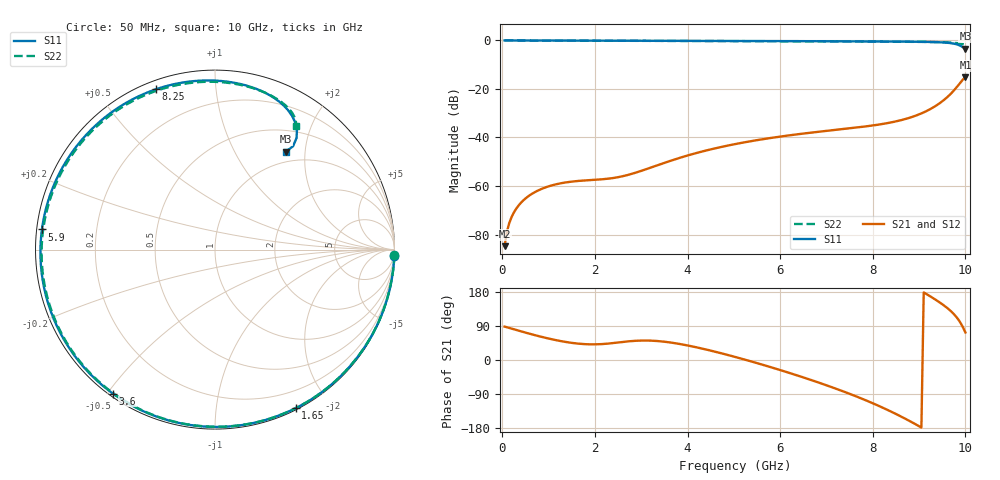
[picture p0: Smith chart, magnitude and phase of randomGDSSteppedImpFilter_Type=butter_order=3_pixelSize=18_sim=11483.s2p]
! freq	dB(S11)	phase(S11)	dB(S12)	phase(S12)
!  dB(S21)	phase(S21)	dB(S22)	phase(S22)
!S-par simulation data
#  GHz  S  DB  R 50
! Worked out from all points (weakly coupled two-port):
!   200 points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, 50 MHz to 10 GHz, reference 50 ohm
!   highest |S21| = -15.23 dB at 10 GHz (marker M1); lowest = -84.8 dB at 50 MHz (marker M2)
!   lowest |S11| = -3.4 dB at 10 GHz (marker M3), VSWR 5.14, Z = 41.1 + j82.3 ohm
!   |S11| at or under -10 dB: nowhere
!   |S22| runs from -1.7 to 0.0 dB; largest |S21 - S12| = 0
!   S11 on the Smith chart (normalised r, x): 50 MHz: 0, -57; 1.65 GHz: 0.02, -1.63; 3.6 GHz: 0.01, -0.52; 5.9 GHz: 0.01, +0.06; 8.25 GHz: 0.04, +0.70; 10 GHz: 0.82, +1.65
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0.05  -0.00 -2.0  -84.81 88.1  -84.81 88.1  -0.00 -1.6
0.1  -0.00 -4.0  -78.80 86.4  -78.80 86.4  -0.00 -3.3
0.15  -0.01 -6.0  -75.30 84.6  -75.30 84.6  -0.01 -4.9
0.25  -0.01 -10.0  -70.92 81.0  -70.92 81.0  -0.01 -8.1
0.55  -0.03 -21.8  -64.40 70.6  -64.40 70.6  -0.02 -17.7
1  -0.05 -39.1  -60.14 56.6  -60.14 56.6  -0.04 -32.0
1.65  -0.08 -63.1  -57.90 43.1  -57.90 43.1  -0.07 -52.2
1.75  -0.08 -66.6  -57.75 42.1  -57.75 42.1  -0.07 -55.3
2.55  -0.11 -93.6  -56.18 46.9  -56.18 46.9  -0.10 -79.1
3.4  -0.14 -119.6  -51.12 49.5  -51.12 49.5  -0.13 -103.3
3.6  -0.14 -125.4  -49.82 46.7  -49.82 46.7  -0.14 -108.9
4.35  -0.17 -146.2  -45.61 29.1  -45.61 29.1  -0.18 -129.4
5.05  -0.21 -164.7  -42.64 7.3  -42.64 7.3  -0.22 -148.3
5.9  -0.26 173.4  -39.91 -22.7  -39.91 -22.7  -0.28 -171.5
6.7  -0.31 152.6  -37.93 -54.1  -37.93 -54.1  -0.34 165.9
7.45  -0.36 132.7  -36.34 -86.9  -36.34 -86.9  -0.41 143.5
8.25  -0.43 110.3  -34.30 -127.8  -34.30 -127.8  -0.48 118.0
8.35  -0.44 107.4  -33.96 -133.5  -33.96 -133.5  -0.49 114.7
8.85  -0.51 92.3  -31.53 -164.5  -31.53 -164.5  -0.55 97.6
9.3  -0.65 77.6  -27.67 163.5  -27.67 163.5  -0.64 81.4
9.8  -1.53 57.8  -19.56 114.3  -19.56 114.3  -1.06 62.1
10  -3.42 54.1  -15.23 72.7  -15.23 72.7  -1.70 56.8
